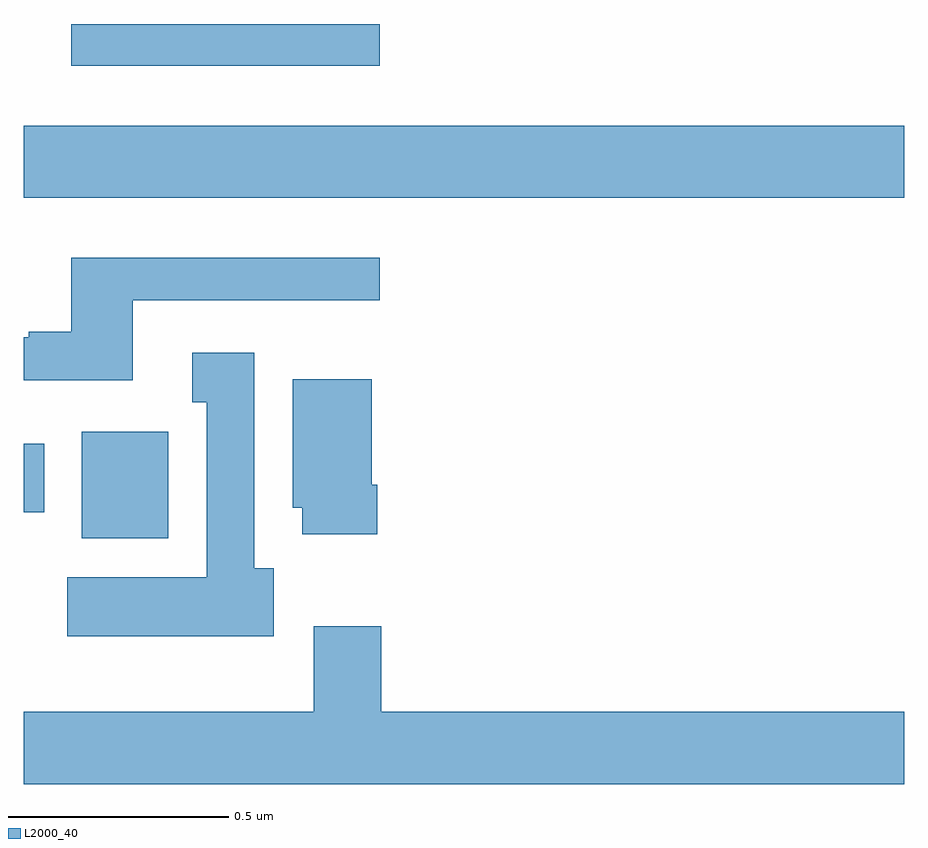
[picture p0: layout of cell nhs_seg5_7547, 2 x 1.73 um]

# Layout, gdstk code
import gdstk
lib = gdstk.Library(unit=1e-6, precision=1e-09)
def R(c, l, rs):  # rectangles x0, y0, x1, y1
    for r in rs: c.add(gdstk.rectangle(r[:2], r[2:], *l))
def P(c, l, *ps):  # polygons
    for p in ps: c.add(gdstk.Polygon(p, *l))
L2000_40 = (2000, 40)

nhs_seg5_7547 = lib.new_cell('nhs_seg5_7547')
R(nhs_seg5_7547, L2000_40, [(210.131,878.63,210.328,878.872), (210,878.689,210.046,878.845), (210,879.404,212,879.568), (210.107,879.704,210.808,879.799)])
P(nhs_seg5_7547, L2000_40, [(210.247,879.171),(210.808,879.171),(210.808,879.268),(210.107,879.268),(210.107,879.1),(210.011,879.1),(210.011,879.087),(210,879.087),(210,878.99),(210.247,878.99)],
  [(210.568,878.562),(210.523,878.562),(210.523,879.052),(210.383,879.052),(210.383,878.939),(210.416,878.939),(210.416,878.542),(210.099,878.542),(210.099,878.408),(210.568,878.408)],
  [(210.803,878.752),(210.79,878.752),(210.79,878.992),(210.611,878.992),(210.611,878.7),(210.632,878.7),(210.632,878.64),(210.803,878.64)],
  [(212,878.236),(210.812,878.236),(210.812,878.431),(210.659,878.431),(210.659,878.236),(210,878.236),(210,878.072),(212,878.072)])

lib.write_gds('nhs_seg5_7547.gds')
